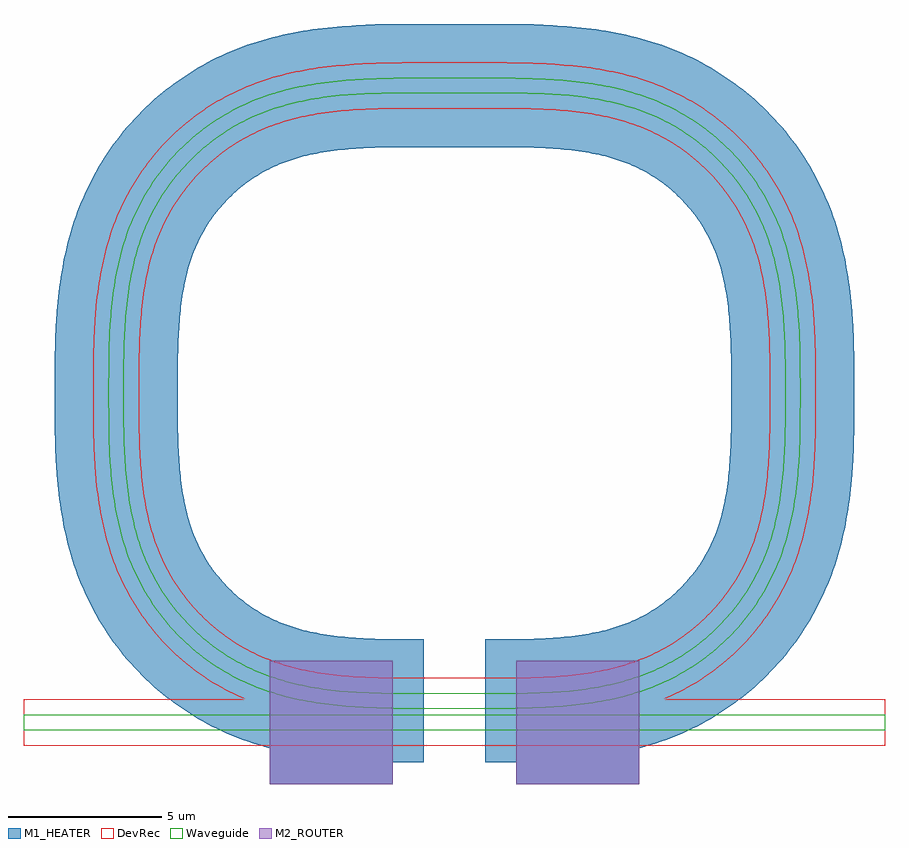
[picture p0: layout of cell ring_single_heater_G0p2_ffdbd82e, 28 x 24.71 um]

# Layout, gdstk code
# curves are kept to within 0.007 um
import gdstk
lib = gdstk.Library(unit=1e-6, precision=1e-09)
def R(c, l, rs):  # rectangles x0, y0, x1, y1
    for r in rs: c.add(gdstk.rectangle(r[:2], r[2:], *l))
def P(c, l, *ps):  # polygons
    for p in ps: c.add(gdstk.Polygon(p, *l))
Waveguide = (1, 0)
M1_HEATER = (11, 0)
M2_ROUTER = (12, 0)
DevRec = (68, 0)

ring_single_heater_g0p2_ = lib.new_cell('ring_single_heater_G0p2_ffdbd82e')
R(ring_single_heater_g0p2_, Waveguide, [(-15,-0.25,13,0.25)])
P(ring_single_heater_g0p2_, Waveguide, [(-2.416,0.45),(-3.392,0.461),(-4.233,0.497),(-4.935,0.556),(-5.496,0.63),(-6.055,0.731),(-6.609,0.864),(-7.155,1.034),(-7.688,1.243),(-8.205,1.494),(-8.7,1.784),(-9.171,2.112),(-9.615,2.476),(-10.029,2.874),(-10.41,3.303),(-10.756,3.761),(-11.066,4.245),(-11.337,4.751),(-11.567,5.277),(-11.756,5.817),(-11.907,6.368),(-12.048,7.064),(-12.128,7.625),(-12.194,8.327),(-12.225,8.888),(-12.248,9.866),(-12.248,11.544),(-12.225,12.522),(-12.171,13.364),(-12.128,13.785),(-12.07,14.206),(-11.939,14.904),(-11.756,15.593),(-11.567,16.133),(-11.457,16.398),(-11.273,16.788),(-10.992,17.289),(-10.756,17.649),(-10.588,17.881),(-10.318,18.217),(-10.127,18.431),(-9.826,18.739),(-9.615,18.934),(-9.171,19.298),(-8.939,19.466),(-8.579,19.702),(-8.331,19.847),(-7.949,20.047),(-7.423,20.277),(-6.902,20.46),(-2.415,20.46),(-3.38,20.449),(-4.065,20.422),(-4.746,20.371),(-5.285,20.306),(-5.952,20.19),(-6.477,20.063),(-6.99,19.904),(-7.488,19.709),(-7.969,19.475),(-8.431,19.205),(-8.869,18.899),(-9.283,18.56),(-9.668,18.189),(-10.024,17.789),(-10.346,17.363),(-10.635,16.913),(-10.887,16.441),(-11.051,16.075),(-11.237,15.573),(-11.388,15.056),(-11.506,14.53),(-11.596,13.995),(-11.661,13.456),(-11.719,12.638),(-11.748,11.54),(-11.748,9.87),(-11.731,9.045),(-11.685,8.226),(-11.614,7.549),(-11.506,6.88),(-11.388,6.354),(-11.317,6.094),(-11.194,5.71),(-11.051,5.335),(-10.887,4.969),(-10.635,4.497),(-10.422,4.157),(-10.189,3.831),(-9.938,3.518),(-9.668,3.221),(-9.382,2.94),(-9.079,2.676),(-8.762,2.431),(-8.431,2.205),(-8.087,1.999),(-7.731,1.813),(-7.365,1.649),(-6.99,1.506),(-6.606,1.383),(-6.216,1.28),(-5.82,1.194),(-5.42,1.124),(-4.881,1.053),(-4.474,1.015),(-3.928,0.981),(-2.83,0.952),(0.692,0.951),(1.928,0.981),(2.474,1.015),(3.151,1.086),(3.687,1.169),(4.216,1.28),(4.606,1.383),(5.116,1.551),(5.488,1.701),(5.851,1.873),(6.203,2.065),(6.653,2.354),(7.079,2.676),(7.382,2.94),(7.76,3.318),(8.024,3.621),(8.269,3.938),(8.566,4.383),(8.827,4.849),(8.999,5.212),(9.149,5.584),(9.317,6.094),(9.48,6.748),(9.576,7.28),(9.661,7.954),(9.712,8.635),(9.742,9.457),(9.75,11.125),(9.739,12.09),(9.704,12.912),(9.647,13.591),(9.576,14.13),(9.48,14.662),(9.353,15.187),(9.194,15.7),(9.051,16.075),(8.887,16.441),(8.635,16.913),(8.422,17.253),(8.269,17.472),(8.024,17.789),(7.85,17.993),(7.575,18.285),(7.283,18.56),(7.079,18.734),(6.762,18.979),(6.543,19.132),(6.203,19.345),(5.851,19.537),(5.488,19.709),(5.116,19.859),(4.863,19.947),(4.477,20.063),(4.084,20.161),(3.42,20.286),(2.881,20.357),(2.202,20.414),(1.38,20.449),(0.415,20.46),(-6.902,20.46),(-6.332,20.617),(-5.636,20.758),(-4.935,20.854),(-4.233,20.913),(-3.532,20.945),(-2.695,20.959),(1.253,20.952),(1.953,20.929),(2.514,20.893),(3.075,20.838),(3.636,20.758),(4.194,20.649),(4.609,20.546),(5.019,20.422),(5.423,20.277),(5.819,20.108),(6.205,19.916),(6.579,19.702),(6.939,19.466),(7.285,19.21),(7.615,18.934),(7.928,18.638),(8.224,18.325),(8.5,17.995),(8.756,17.649),(8.992,17.289),(9.206,16.915),(9.398,16.529),(9.567,16.133),(9.712,15.729),(9.836,15.319),(9.939,14.904),(10.048,14.346),(10.128,13.785),(10.194,13.083),(10.235,12.242),(10.248,11.544),(10.249,10.005),(10.239,9.308),(10.219,8.747),(10.183,8.186),(10.128,7.625),(10.048,7.064),(9.939,6.506),(9.836,6.091),(9.712,5.681),(9.567,5.277),(9.457,5.012),(9.273,4.622),(9.066,4.245),(8.916,4),(8.673,3.644),(8.41,3.303),(8.224,3.085),(7.928,2.772),(7.615,2.476),(7.397,2.29),(7.056,2.027),(6.7,1.784),(6.455,1.634),(6.078,1.427),(5.688,1.243),(5.423,1.133),(4.883,0.944),(4.194,0.761),(3.496,0.63),(3.075,0.572),(2.654,0.529),(1.953,0.481),(1.253,0.458)])
P(ring_single_heater_g0p2_, M1_HEATER, [(-7,-2),(-7,-0.842),(-7.401,-0.727),(-7.732,-0.618),(-8.39,-0.36),(-9.03,-0.05),(-9.644,0.31),(-10.085,0.611),(-10.643,1.051),(-11.166,1.534),(-11.649,2.057),(-11.983,2.473),(-12.293,2.907),(-12.576,3.36),(-12.832,3.828),(-13.06,4.31),(-13.259,4.803),(-13.427,5.299),(-13.567,5.794),(-13.715,6.45),(-13.823,7.097),(-13.9,7.734),(-13.967,8.663),(-13.999,9.994),(-13.996,11.705),(-13.967,12.747),(-13.9,13.676),(-13.8,14.474),(-13.682,15.124),(-13.523,15.781),(-13.374,16.276),(-13.13,16.936),(-12.911,17.423),(-12.664,17.896),(-12.39,18.354),(-12.089,18.795),(-11.763,19.217),(-11.532,19.487),(-11.166,19.876),(-10.777,20.242),(-10.368,20.584),(-9.94,20.902),(-9.493,21.194),(-9.03,21.46),(-8.713,21.621),(-8.226,21.84),(-7.732,22.028),(-7.236,22.187),(-6.742,22.318),(-6.25,22.425),(-5.603,22.533),(-4.966,22.61),(-4.343,22.66),(-3.584,22.694),(-2.706,22.709),(1.141,22.704),(2.19,22.669),(3.124,22.593),(3.764,22.51),(4.414,22.392),(5.071,22.233),(5.566,22.084),(6.226,21.84),(6.713,21.621),(7.186,21.374),(7.644,21.1),(8.085,20.799),(8.507,20.473),(8.777,20.242),(9.166,19.876),(9.532,19.487),(9.763,19.217),(10.089,18.795),(10.39,18.354),(10.576,18.05),(10.832,17.582),(11.06,17.1),(11.259,16.607),(11.427,16.111),(11.567,15.616),(11.682,15.124),(11.8,14.474),(11.9,13.676),(11.95,13.053),(11.984,12.294),(11.999,11.416),(11.999,9.994),(11.979,8.966),(11.928,8.047),(11.865,7.417),(11.774,6.775),(11.646,6.123),(11.477,5.464),(11.318,4.968),(11.13,4.474),(10.911,3.987),(10.664,3.514),(10.39,3.056),(10.089,2.615),(9.874,2.332),(9.649,2.057),(9.29,1.661),(9.039,1.41),(8.643,1.051),(8.085,0.611),(7.793,0.407),(7.34,0.124),(7.03,-0.05),(6.552,-0.287),(6.226,-0.43),(5.897,-0.559),(5.401,-0.727),(5,-0.842),(5,-2),(1,-2),(1,-1.296),(0,-1.3),(0,2.7),(0.814,2.702),(1.719,2.723),(2.335,2.76),(2.924,2.821),(3.485,2.911),(3.911,3.007),(4.315,3.125),(4.787,3.305),(5.144,3.478),(5.57,3.733),(5.892,3.967),(6.266,4.293),(6.607,4.655),(6.911,5.048),(7.125,5.382),(7.355,5.823),(7.472,6.097),(7.607,6.484),(7.693,6.789),(7.789,7.215),(7.847,7.548),(7.919,8.126),(7.965,8.732),(7.986,9.235),(7.999,10.019),(7.998,11.524),(7.982,12.303),(7.949,12.924),(7.907,13.402),(7.828,13.974),(7.719,14.516),(7.607,14.926),(7.472,15.313),(7.355,15.587),(7.222,15.854),(7.074,16.113),(6.911,16.362),(6.671,16.679),(6.475,16.904),(6.194,17.185),(5.892,17.443),(5.652,17.621),(5.403,17.784),(5.144,17.932),(4.877,18.065),(4.603,18.182),(4.216,18.317),(3.911,18.403),(3.485,18.499),(2.924,18.589),(2.335,18.65),(1.719,18.687),(0.681,18.709),(-2.681,18.709),(-3.719,18.687),(-4.214,18.659),(-4.692,18.617),(-5.152,18.557),(-5.485,18.499),(-5.806,18.429),(-6.116,18.347),(-6.412,18.252),(-6.787,18.105),(-7.056,17.978),(-7.318,17.835),(-7.57,17.677),(-7.813,17.504),(-8.045,17.317),(-8.266,17.117),(-8.475,16.904),(-8.733,16.602),(-8.911,16.362),(-9.074,16.113),(-9.222,15.854),(-9.355,15.587),(-9.472,15.313),(-9.575,15.025),(-9.719,14.516),(-9.789,14.195),(-9.847,13.862),(-9.907,13.402),(-9.94,13.045),(-9.986,12.175),(-9.999,11.391),(-10,10.289),(-9.977,8.981),(-9.949,8.486),(-9.907,8.008),(-9.847,7.548),(-9.767,7.107),(-9.693,6.789),(-9.607,6.484),(-9.434,6.005),(-9.222,5.556),(-9.074,5.297),(-8.911,5.048),(-8.733,4.808),(-8.542,4.58),(-8.194,4.225),(-7.813,3.906),(-7.57,3.733),(-7.318,3.575),(-6.877,3.345),(-6.603,3.228),(-6.315,3.125),(-5.806,2.981),(-5.485,2.911),(-5.152,2.853),(-4.574,2.781),(-3.968,2.735),(-3.208,2.708),(-2,2.7),(-2,-1.3),(-3,-1.296),(-3,-2)])
R(ring_single_heater_g0p2_, M2_ROUTER, [(-7,-2,-3,2), (1,-2,5,2)])
P(ring_single_heater_g0p2_, DevRec, [(-15,-0.75),(-15,0.75),(-7.807,0.75),(-8.305,0.982),(-8.84,1.281),(-9.225,1.533),(-9.714,1.903),(-10.061,2.206),(-10.494,2.639),(-10.797,2.986),(-11.167,3.475),(-11.419,3.86),(-11.718,4.395),(-11.975,4.952),(-12.187,5.525),(-12.356,6.105),(-12.488,6.689),(-12.586,7.274),(-12.656,7.856),(-12.711,8.58),(-12.742,9.437),(-12.749,11.408),(-12.73,12.4),(-12.682,13.264),(-12.624,13.845),(-12.541,14.429),(-12.393,15.159),(-12.277,15.596),(-12.187,15.885),(-11.975,16.458),(-11.718,17.015),(-11.419,17.55),(-11.078,18.06),(-10.797,18.424),(-10.597,18.657),(-10.172,19.099),(-9.714,19.507),(-9.35,19.788),(-9.102,19.96),(-2.414,19.96),(-3.637,19.941),(-4.566,19.885),(-5.343,19.792),(-5.724,19.726),(-6.099,19.644),(-6.466,19.547),(-6.825,19.432),(-7.174,19.299),(-7.401,19.2),(-7.734,19.034),(-8.056,18.85),(-8.265,18.716),(-8.568,18.5),(-8.857,18.267),(-9.133,18.018),(-9.393,17.752),(-9.637,17.472),(-9.79,17.278),(-10.006,16.975),(-10.203,16.66),(-10.382,16.334),(-10.541,15.998),(-10.68,15.652),(-10.8,15.297),(-10.904,14.932),(-11.016,14.434),(-11.082,14.053),(-11.175,13.276),(-11.213,12.748),(-11.239,12.078),(-11.249,10.011),(-11.22,8.796),(-11.186,8.266),(-11.135,7.743),(-11.082,7.357),(-10.99,6.85),(-10.904,6.478),(-10.762,5.994),(-10.635,5.641),(-10.49,5.299),(-10.324,4.966),(-10.14,4.644),(-9.936,4.333),(-9.637,3.938),(-9.308,3.567),(-9.042,3.307),(-8.666,2.985),(-8.367,2.764),(-8.056,2.56),(-7.624,2.318),(-7.288,2.159),(-6.825,1.978),(-6.466,1.863),(-5.975,1.737),(-5.471,1.639),(-4.957,1.565),(-4.038,1.487),(-3.368,1.461),(-2.689,1.451),(0.414,1.45),(1.368,1.461),(2.038,1.487),(2.697,1.537),(3.215,1.599),(3.724,1.684),(4.222,1.796),(4.706,1.938),(5.174,2.111),(5.624,2.318),(6.056,2.56),(6.265,2.694),(6.568,2.91),(6.951,3.224),(7.308,3.567),(7.476,3.749),(7.715,4.034),(8.006,4.435),(8.265,4.858),(8.49,5.299),(8.68,5.758),(8.837,6.234),(8.99,6.85),(9.101,7.485),(9.163,8.003),(9.196,8.398),(9.239,9.332),(9.25,11.124),(9.231,12.347),(9.186,13.144),(9.101,13.925),(9.016,14.434),(8.871,15.054),(8.722,15.535),(8.589,15.884),(8.437,16.223),(8.265,16.552),(8.006,16.975),(7.79,17.278),(7.476,17.661),(7.221,17.931),(6.951,18.186),(6.568,18.5),(6.265,18.716),(5.842,18.975),(5.513,19.147),(5.174,19.299),(4.825,19.432),(4.344,19.581),(3.724,19.726),(2.957,19.845),(2.17,19.915),(1.368,19.949),(0.414,19.96),(-9.102,19.96),(-8.708,20.207),(-8.305,20.428),(-7.889,20.625),(-7.319,20.848),(-6.886,20.987),(-6.303,21.137),(-5.719,21.251),(-5.135,21.334),(-4.554,21.392),(-4.12,21.421),(-3.547,21.445),(-2.839,21.458),(0.839,21.458),(1.69,21.44),(2.554,21.392),(2.989,21.351),(3.573,21.274),(4.011,21.198),(4.449,21.103),(4.886,20.987),(5.319,20.848),(5.748,20.685),(6.029,20.562),(6.441,20.357),(6.84,20.129),(7.225,19.877),(7.594,19.603),(7.947,19.307),(8.282,18.992),(8.494,18.771),(8.797,18.424),(9.167,17.935),(9.419,17.55),(9.718,17.015),(9.915,16.599),(10.138,16.029),(10.318,15.451),(10.458,14.867),(10.564,14.283),(10.656,13.554),(10.718,12.687),(10.748,11.549),(10.75,10.282),(10.735,9.153),(10.702,8.435),(10.641,7.711),(10.541,6.981),(10.427,6.397),(10.318,5.959),(10.138,5.381),(9.975,4.952),(9.786,4.533),(9.574,4.125),(9.337,3.73),(8.986,3.227),(8.698,2.869),(8.282,2.418),(7.947,2.103),(7.594,1.807),(7.225,1.533),(6.84,1.281),(6.305,0.982),(5.807,0.75),(13,0.75),(13,-0.75)])

lib.write_gds('ring_single_heater_G0p2_ffdbd82e.gds')
